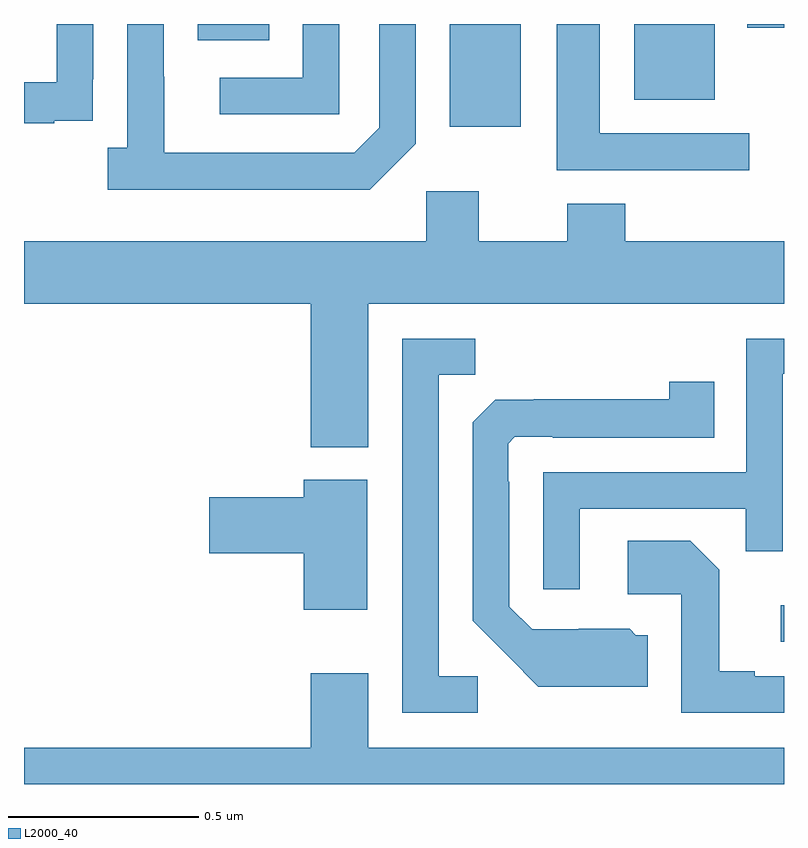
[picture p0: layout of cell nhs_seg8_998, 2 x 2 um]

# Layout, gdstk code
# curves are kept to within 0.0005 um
import gdstk
lib = gdstk.Library(unit=1e-6, precision=1e-09)
def R(c, l, rs):  # rectangles x0, y0, x1, y1
    for r in rs: c.add(gdstk.rectangle(r[:2], r[2:], *l))
def P(c, l, *ps):  # polygons
    for p in ps: c.add(gdstk.Polygon(p, *l))
L2000_40 = (2000, 40)

nhs_seg8_998 = lib.new_cell('nhs_seg8_998')
R(nhs_seg8_998, L2000_40, [(125.991,1118.274,126,1118.371), (125.12,1119.629,125.307,1119.9), (125.606,1119.701,125.818,1119.9), (124.457,1119.857,124.645,1119.9), (125.903,1119.89,126,1119.9)])
P(nhs_seg8_998, L2000_40, [(124.079,1119.645),(124.181,1119.645),(124.181,1119.754),(124.182,1119.754),(124.182,1119.9),(124.086,1119.9),(124.086,1119.747),(124,1119.747),(124,1119.639),(124.079,1119.639)],
  [(124.83,1119.9),(124.734,1119.9),(124.734,1119.759),(124.515,1119.759),(124.515,1119.663),(124.83,1119.663)],
  [(125.908,1119.612),(125.515,1119.612),(125.515,1119.9),(125.402,1119.9),(125.402,1119.515),(125.908,1119.515)],
  [(125.031,1119.585),(125.031,1119.9),(124.935,1119.9),(124.935,1119.627),(124.869,1119.561),(124.369,1119.561),(124.369,1119.761),(124.368,1119.761),(124.368,1119.9),(124.272,1119.9),(124.272,1119.574),(124.221,1119.574),(124.221,1119.464),(124.91,1119.464)],
  [(124.906,1119.164),(126,1119.164),(126,1119.328),(125.582,1119.328),(125.582,1119.427),(125.429,1119.427),(125.429,1119.328),(125.197,1119.328),(125.197,1119.46),(125.058,1119.46),(125.058,1119.328),(124,1119.328),(124,1119.164),(124.754,1119.164),(124.754,1118.786),(124.906,1118.786)],
  [(125.194,1118.184),(125.091,1118.184),(125.091,1118.977),(125.187,1118.977),(125.187,1119.072),(124.995,1119.072),(124.995,1118.088),(125.194,1118.088)],
  [(125.463,1118.625),(125.899,1118.625),(125.899,1118.512),(125.997,1118.512),(125.997,1118.979),(126,1118.979),(126,1119.072),(125.901,1119.072),(125.901,1118.721),(125.367,1118.721),(125.367,1118.412),(125.463,1118.412)],
  [(125.641,1118.292),(125.61,1118.292),(125.594,1118.308),(125.46,1118.308),(125.46,1118.307),(125.337,1118.307),(125.277,1118.367),(125.277,1118.696),(125.274,1118.696),(125.274,1118.796),(125.292,1118.814),(125.392,1118.814),(125.392,1118.811),(125.816,1118.811),(125.816,1118.959),(125.698,1118.959),(125.698,1118.912),(125.341,1118.912),(125.341,1118.911),(125.24,1118.911),(125.181,1118.852),(125.181,1118.33),(125.353,1118.156),(125.641,1118.156)],
  [(124.903,1118.701),(124.736,1118.701),(124.736,1118.654),(124.488,1118.654),(124.488,1118.507),(124.736,1118.507),(124.736,1118.358),(124.903,1118.358)],
  [(126,1118.184),(125.923,1118.184),(125.923,1118.197),(125.829,1118.197),(125.829,1118.464),(125.753,1118.54),(125.589,1118.54),(125.589,1118.4),(125.73,1118.4),(125.73,1118.088),(126,1118.088)],
  [(126,1117.996),(124.906,1117.996),(124.906,1118.191),(124.754,1118.191),(124.754,1117.996),(124,1117.996),(124,1117.9),(126,1117.9)])

lib.write_gds('nhs_seg8_998.gds')
